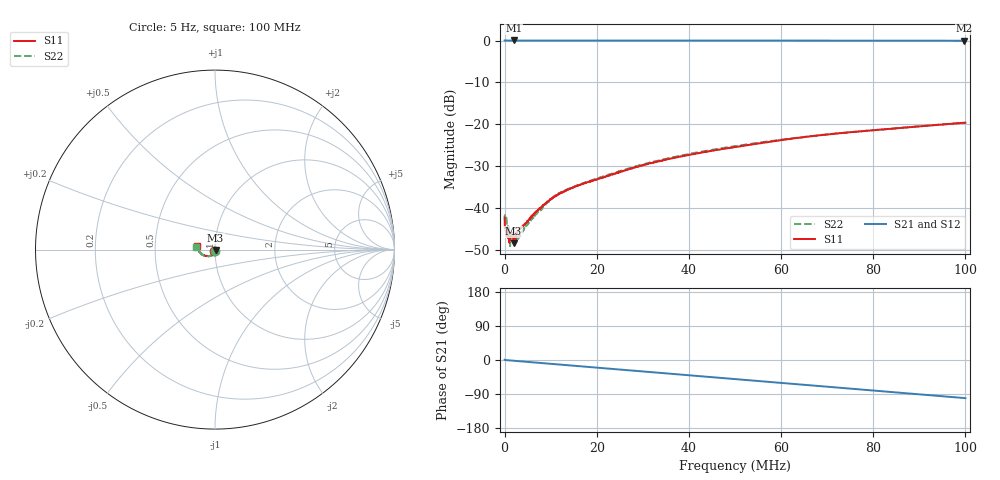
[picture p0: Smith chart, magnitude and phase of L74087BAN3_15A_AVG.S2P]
!Agilent Technologies,E5061B,MY49102235,A.02.00
!Date: Tue Jul 11 15:17:01 2023
!Data & Calibration Information:
!Freq	S11:SOLT2(ON)	S21:SOLT2(ON)	S12:SOLT2(ON)	S22:SOLT2(ON)
# Hz S RI R 50
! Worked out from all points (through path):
!   1600 points, 5 Hz to 100 MHz, reference 50 ohm
!   highest |S21| = 0.02 dB at 2.001 MHz (marker M1); lowest = 0.0 dB at 99.75 MHz (marker M2)
!   group delay of S21, straight-line fit = 2.8 ns
!   lowest |S11| = -48.4 dB at 1.939 MHz (marker M3), VSWR 1.01, Z = 50.3 - j0.212 ohm
!   |S11| at or under -10 dB: start of sweep to end of sweep
!   |S22| runs from -49.1 to -19.6 dB; largest |S21 - S12| = 0.0027
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5  -0.00519 -0.00564  1.002 0.00801  1 0.0103  -0.00149 -0.00754
437778.6  0.00512 -0.000541  1.001 -0.00544  1.001 -0.00609  0.00662 -0.00218
625395.8  0.00506 -0.000573  1.002 -0.0105  1.002 -0.0101  0.00608 -0.000934
938091.3  0.00435 -0.000298  1.001 -0.0151  1.001 -0.0146  0.00593 -0.00086
1500943  0.00438 -0.00233  1.001 -0.025  1.002 -0.0249  0.00304 -0.00348
1938717  0.00315 -0.00211  1.002 -0.0337  1.001 -0.0332  0.00344 -0.00184
2001256  0.00306 -0.0026  1.002 -0.0352  1.001 -0.0348  0.0032 -0.00229
2376490  0.00333 -0.0027  0.9998 -0.0413  1 -0.0417  0.00399 -0.00237
3252037  0.00429 -0.0038  0.9994 -0.057  0.9992 -0.0568  0.00319 -0.0033
6003757  0.00342 -0.00716  0.9954 -0.1052  0.9954 -0.1049  0.00298 -0.00699
9505946  0.00165 -0.012  0.9871 -0.1664  0.9872 -0.1661  0.00109 -0.0119
1.156974e7  0.000243 -0.0146  0.9806 -0.2019  0.9802 -0.2017  -0.00059 -0.0148
1.669794e7  -0.00337 -0.019  0.9577 -0.2893  0.9577 -0.289  -0.00365 -0.0191
2.582865e7  -0.00997 -0.0259  0.8995 -0.4386  0.8992 -0.4384  -0.00775 -0.0274
3.333334e7  -0.018 -0.0313  0.8334 -0.553  0.8333 -0.5526  -0.0165 -0.0328
4.033771e7  -0.0265 -0.0346  0.759 -0.6508  0.7589 -0.6504  -0.026 -0.0362
5.003127e7  -0.0395 -0.0361  0.6374 -0.77  0.6373 -0.7696  -0.0396 -0.0377
6.672921e7  -0.0659 -0.0301  0.3868 -0.9201  0.3871 -0.92  -0.0652 -0.0311
7.53596e7  -0.0779 -0.0213  0.2434 -0.9672  0.2436 -0.967  -0.0775 -0.0229
8.33646e7  -0.0874 -0.00979  0.1056 -0.9912  0.1056 -0.9912  -0.0872 -0.0124
9.974984e7  -0.1026 0.0192  -0.1799 -0.9785  -0.1796 -0.9787  -0.1028 0.0158
1e8  -0.1027 0.0196  -0.1842 -0.9778  -0.184 -0.978  -0.1032 0.0164
